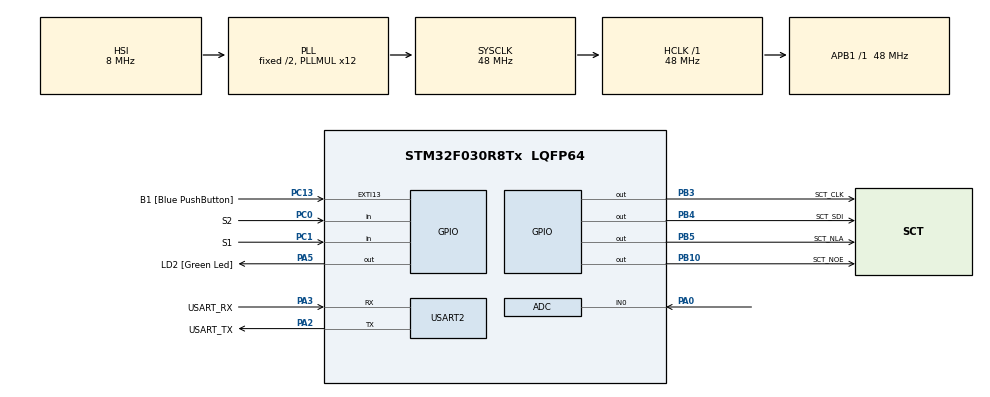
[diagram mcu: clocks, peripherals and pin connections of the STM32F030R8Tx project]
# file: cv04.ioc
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ADC.ContinuousConvMode=ENABLE
ADC.Overrun=ADC_OVR_DATA_OVERWRITTEN
ADC.SamplingTime=ADC_SAMPLETIME_239CYCLES_5
Mcu.Family=STM32F0
Mcu.Name=STM32F030R8Tx
Mcu.Package=LQFP64
NVIC.ADC1_IRQn=true\:0\:0\:false\:false\:true\:true\:true\:true
PA0.Mode=IN0
PA0.Signal=ADC_IN0
PA13.GPIO_Label=TMS
PA13.Mode=Serial_Wire
PA13.Signal=SYS_SWDIO
PA14.GPIO_Label=TCK
PA14.Mode=Serial_Wire
PA14.Signal=SYS_SWCLK
PA2.GPIO_Label=USART_TX
PA2.GPIO_Mode=GPIO_MODE_AF_PP
PA2.GPIO_PuPd=GPIO_NOPULL
PA2.GPIO_Speed=GPIO_SPEED_FREQ_LOW
PA2.Mode=Asynchronous
PA2.Signal=USART2_TX
PA3.GPIO_Label=USART_RX
PA3.GPIO_Mode=GPIO_MODE_AF_PP
PA3.GPIO_PuPd=GPIO_NOPULL
PA3.GPIO_Speed=GPIO_SPEED_FREQ_LOW
PA3.Mode=Asynchronous
PA3.Signal=USART2_RX
PA5.GPIO_Label=LD2 [Green Led]
PA5.GPIO_Mode=GPIO_MODE_OUTPUT_PP
PA5.GPIO_PuPd=GPIO_NOPULL
PA5.GPIO_Speed=GPIO_SPEED_FREQ_LOW
PA5.Signal=GPIO_Output
PB10.GPIO_Label=SCT_NOE
PB10.Signal=GPIO_Output
PB3.GPIO_Label=SCT_CLK
PB3.Signal=GPIO_Output
PB4.GPIO_Label=SCT_SDI
PB4.Signal=GPIO_Output
PB5.GPIO_Label=SCT_NLA
PB5.Signal=GPIO_Output
PC0.GPIO_Label=S2
PC0.GPIO_PuPd=GPIO_PULLUP
PC0.Signal=GPIO_Input
PC1.GPIO_Label=S1
PC1.GPIO_PuPd=GPIO_PULLUP
PC1.Signal=GPIO_Input
PC13.GPIO_Label=B1 [Blue PushButton]
PC13.GPIO_ModeDefaultEXTI=GPIO_MODE_IT_FALLING
PC13.Signal=GPXTI13
PC14-OSC32_IN.Mode=LSE-External-Oscillator
PC14-OSC32_IN.Signal=RCC_OSC32_IN
PC15-OSC32_OUT.Mode=LSE-External-Oscillator
PC15-OSC32_OUT.Signal=RCC_OSC32_OUT
PF0-OSC_IN.Mode=HSE-External-Clock-Source
PF0-OSC_IN.Signal=RCC_OSC_IN
PF1-OSC_OUT.Signal=RCC_OSC_OUT
ProjectManager.HeapSize=0x200
ProjectManager.StackSize=0x400
ProjectManager.TargetToolchain=STM32CubeIDE
RCC.AHBFreq_Value=48000000
RCC.APB1Freq_Value=48000000
RCC.APB1TimFreq_Value=48000000
RCC.HCLKFreq_Value=48000000
RCC.PLLMUL=RCC_PLL_MUL12
RCC.SYSCLKFreq_VALUE=48000000
RCC.SYSCLKSource=RCC_SYSCLKSOURCE_PLLCLK
USART2.VirtualMode-Asynchronous=VM_ASYNC
VP_ADC_TempSens_Input.Mode=IN-TempSens
VP_ADC_Vref_Input.Mode=IN-Vrefint
board=NUCLEO-F030R8

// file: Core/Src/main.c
/* USER CODE BEGIN Header */
/**
  ******************************************************************************
  * @file           : main.c
  * @brief          : Main program body
  ******************************************************************************
  * @attention
  *
  * Copyright (c) 2025 STMicroelectronics.
  * All rights reserved.
  *
  * This software is licensed under terms that can be found in the LICENSE file
  * in the root directory of this software component.
  * If no LICENSE file comes with this software, it is provided AS-IS.
  *
  ******************************************************************************
  */
/* USER CODE END Header */
#include "main.h"

/* USER CODE BEGIN Includes */
#include "sct.h"
/* USER CODE END Includes */

/* USER CODE BEGIN PD */
#define ADC_Q 12

/* Temperature sensor calibration value address */
#define TEMP110_CAL_ADDR ((uint16_t*) ((uint32_t) 0x1FFFF7C2))
#define TEMP30_CAL_ADDR ((uint16_t*) ((uint32_t) 0x1FFFF7B8))

/* Internal voltage reference calibration value address */
#define VREFINT_CAL_ADDR ((uint16_t*) ((uint32_t) 0x1FFFF7BA))

/* USER CODE END PD */

ADC_HandleTypeDef hadc;

UART_HandleTypeDef huart2;

void SystemClock_Config(void);
static void MX_GPIO_Init(void);
static void MX_USART2_UART_Init(void);
static void MX_ADC_Init(void);

/* USER CODE BEGIN 0 */

static volatile uint32_t raw_pot;
static volatile uint16_t raw_temp;
static volatile uint16_t raw_volt;

void HAL_ADC_ConvCpltCallback(ADC_HandleTypeDef* hadc)
{

	static uint32_t avg_pot;
	static uint8_t channel = 0;

	switch(channel) {

	case 0:
		raw_pot = avg_pot >> ADC_Q;
		avg_pot -= raw_pot;
		avg_pot += HAL_ADC_GetValue(hadc);
		break;

	case 1:
		raw_temp = HAL_ADC_GetValue(hadc);
		break;

	case 2:
		raw_volt = HAL_ADC_GetValue(hadc);
		break;

	default:
		channel = 0;
		return;

	}

	if (__HAL_ADC_GET_FLAG(hadc, ADC_FLAG_EOS))
		channel = 0;
	else
		channel++;

}

/* USER CODE END 0 */

int main(void)
{

  /* MCU Configuration--------------------------------------------------------*/

  /* Reset of all peripherals, Initializes the Flash interface and the Systick. */
  HAL_Init();

  /* Configure the system clock */
  SystemClock_Config();

  /* Initialize all configured peripherals */
  MX_GPIO_Init();
  MX_USART2_UART_Init();
  MX_ADC_Init();
  /* USER CODE BEGIN 2 */
  sct_init();

  HAL_ADCEx_Calibration_Start(&hadc);
  HAL_ADC_Start_IT(&hadc);

  /* USER CODE END 2 */

  /* Infinite loop */
  /* USER CODE BEGIN WHILE */

  while (1)
  {
	  static enum { SHOW_POT, SHOW_VOLT, SHOW_TEMP } state = SHOW_POT;
	  static uint32_t press = 0;

	  uint16_t value;
	  uint8_t led = (raw_pot * 9) / 4096;
	  int32_t temperature;

	  if ((HAL_GPIO_ReadPin(S1_GPIO_Port, S1_Pin) == GPIO_PIN_RESET)){
		  state = SHOW_VOLT;
		  press = HAL_GetTick();

	  }

	  else if (HAL_GPIO_ReadPin(S2_GPIO_Port, S2_Pin) == GPIO_PIN_RESET){
		  state = SHOW_TEMP;
		  press = HAL_GetTick();

	  }

	  if ((state != SHOW_POT) && (HAL_GetTick() - press > 1000)) {
		  state = SHOW_POT;
	  }

	  switch (state)
	  {
	  case SHOW_VOLT:
		  value = 330 * (*VREFINT_CAL_ADDR) / raw_volt;

		  break;

	  case SHOW_TEMP:
		  temperature = (raw_temp - (int32_t)(*TEMP30_CAL_ADDR));
		  temperature = temperature * (int32_t)(110 - 30);
		  temperature = temperature / (int32_t)(*TEMP110_CAL_ADDR - *TEMP30_CAL_ADDR);
		  temperature = temperature + 30;
		  value = temperature;
		  break;

	  case SHOW_POT:
		  value = (raw_pot * 501) / 4096;
		  break;
	  }

	  sct_value(value, led);
	  HAL_Delay(50);

    /* USER CODE END WHILE */

  }
}

void SystemClock_Config(void)
{
  RCC_OscInitTypeDef RCC_OscInitStruct = {0};
  RCC_ClkInitTypeDef RCC_ClkInitStruct = {0};

  /** Initializes the RCC Oscillators according to the specified parameters
  * in the RCC_OscInitTypeDef structure.
  */
  RCC_OscInitStruct.OscillatorType = RCC_OSCILLATORTYPE_HSI|RCC_OSCILLATORTYPE_HSI14;
  RCC_OscInitStruct.HSIState = RCC_HSI_ON;
  RCC_OscInitStruct.HSI14State = RCC_HSI14_ON;
  RCC_OscInitStruct.HSICalibrationValue = RCC_HSICALIBRATION_DEFAULT;
  RCC_OscInitStruct.HSI14CalibrationValue = 16;
  RCC_OscInitStruct.PLL.PLLState = RCC_PLL_ON;
  RCC_OscInitStruct.PLL.PLLSource = RCC_PLLSOURCE_HSI;
  RCC_OscInitStruct.PLL.PLLMUL = RCC_PLL_MUL12;
  RCC_OscInitStruct.PLL.PREDIV = RCC_PREDIV_DIV1;
  if (HAL_RCC_OscConfig(&RCC_OscInitStruct) != HAL_OK)
  {
    Error_Handler();
  }

  /** Initializes the CPU, AHB and APB buses clocks
  */
  RCC_ClkInitStruct.ClockType = RCC_CLOCKTYPE_HCLK|RCC_CLOCKTYPE_SYSCLK
                              |RCC_CLOCKTYPE_PCLK1;
  RCC_ClkInitStruct.SYSCLKSource = RCC_SYSCLKSOURCE_PLLCLK;
  RCC_ClkInitStruct.AHBCLKDivider = RCC_SYSCLK_DIV1;
  RCC_ClkInitStruct.APB1CLKDivider = RCC_HCLK_DIV1;

  if (HAL_RCC_ClockConfig(&RCC_ClkInitStruct, FLASH_LATENCY_1) != HAL_OK)
  {
    Error_Handler();
  }
}

static void MX_ADC_Init(void)
{

  ADC_ChannelConfTypeDef sConfig = {0};

  /** Configure the global features of the ADC (Clock, Resolution, Data Alignment and number of conversion)
  */
  hadc.Instance = ADC1;
  hadc.Init.ClockPrescaler = ADC_CLOCK_ASYNC_DIV1;
  hadc.Init.Resolution = ADC_RESOLUTION_12B;
  hadc.Init.DataAlign = ADC_DATAALIGN_RIGHT;
  hadc.Init.ScanConvMode = ADC_SCAN_DIRECTION_FORWARD;
  hadc.Init.EOCSelection = ADC_EOC_SINGLE_CONV;
  hadc.Init.LowPowerAutoWait = DISABLE;
  hadc.Init.LowPowerAutoPowerOff = DISABLE;
  hadc.Init.ContinuousConvMode = ENABLE;
  hadc.Init.DiscontinuousConvMode = DISABLE;
  hadc.Init.ExternalTrigConv = ADC_SOFTWARE_START;
  hadc.Init.ExternalTrigConvEdge = ADC_EXTERNALTRIGCONVEDGE_NONE;
  hadc.Init.DMAContinuousRequests = DISABLE;
  hadc.Init.Overrun = ADC_OVR_DATA_OVERWRITTEN;
  if (HAL_ADC_Init(&hadc) != HAL_OK)
  {
    Error_Handler();
  }

  /** Configure for the selected ADC regular channel to be converted.
  */
  sConfig.Channel = ADC_CHANNEL_0;
  sConfig.Rank = ADC_RANK_CHANNEL_NUMBER;
  sConfig.SamplingTime = ADC_SAMPLETIME_239CYCLES_5;
  if (HAL_ADC_ConfigChannel(&hadc, &sConfig) != HAL_OK)
  {
    Error_Handler();
  }

  /** Configure for the selected ADC regular channel to be converted.
  */
  sConfig.Channel = ADC_CHANNEL_TEMPSENSOR;
  if (HAL_ADC_ConfigChannel(&hadc, &sConfig) != HAL_OK)
  {
    Error_Handler();
  }

  /** Configure for the selected ADC regular channel to be converted.
  */
  sConfig.Channel = ADC_CHANNEL_VREFINT;
  if (HAL_ADC_ConfigChannel(&hadc, &sConfig) != HAL_OK)
  {
    Error_Handler();
  }

}

static void MX_USART2_UART_Init(void)
{

  huart2.Instance = USART2;
  huart2.Init.BaudRate = 38400;
  huart2.Init.WordLength = UART_WORDLENGTH_8B;
  huart2.Init.StopBits = UART_STOPBITS_1;
  huart2.Init.Parity = UART_PARITY_NONE;
  huart2.Init.Mode = UART_MODE_TX_RX;
  huart2.Init.HwFlowCtl = UART_HWCONTROL_NONE;
  huart2.Init.OverSampling = UART_OVERSAMPLING_16;
  huart2.Init.OneBitSampling = UART_ONE_BIT_SAMPLE_DISABLE;
  huart2.AdvancedInit.AdvFeatureInit = UART_ADVFEATURE_NO_INIT;
  if (HAL_UART_Init(&huart2) != HAL_OK)
  {
    Error_Handler();
  }

}

static void MX_GPIO_Init(void)
{
  GPIO_InitTypeDef GPIO_InitStruct = {0};

  /* GPIO Ports Clock Enable */
  __HAL_RCC_GPIOC_CLK_ENABLE();
  __HAL_RCC_GPIOF_CLK_ENABLE();
  __HAL_RCC_GPIOA_CLK_ENABLE();
  __HAL_RCC_GPIOB_CLK_ENABLE();

  /*Configure GPIO pin Output Level */
  HAL_GPIO_WritePin(LD2_GPIO_Port, LD2_Pin, GPIO_PIN_RESET);

  /*Configure GPIO pin Output Level */
  HAL_GPIO_WritePin(GPIOB, SCT_NOE_Pin|SCT_CLK_Pin|SCT_SDI_Pin|SCT_NLA_Pin, GPIO_PIN_RESET);

  /*Configure GPIO pin : B1_Pin */
  GPIO_InitStruct.Pin = B1_Pin;
  GPIO_InitStruct.Mode = GPIO_MODE_IT_FALLING;
  GPIO_InitStruct.Pull = GPIO_NOPULL;
  HAL_GPIO_Init(B1_GPIO_Port, &GPIO_InitStruct);

  /*Configure GPIO pins : S2_Pin S1_Pin */
  GPIO_InitStruct.Pin = S2_Pin|S1_Pin;
  GPIO_InitStruct.Mode = GPIO_MODE_INPUT;
  GPIO_InitStruct.Pull = GPIO_PULLUP;
  HAL_GPIO_Init(GPIOC, &GPIO_InitStruct);

  /*Configure GPIO pin : LD2_Pin */
  GPIO_InitStruct.Pin = LD2_Pin;
  GPIO_InitStruct.Mode = GPIO_MODE_OUTPUT_PP;
  GPIO_InitStruct.Pull = GPIO_NOPULL;
  GPIO_InitStruct.Speed = GPIO_SPEED_FREQ_LOW;
  HAL_GPIO_Init(LD2_GPIO_Port, &GPIO_InitStruct);

  /*Configure GPIO pins : SCT_NOE_Pin SCT_CLK_Pin SCT_SDI_Pin SCT_NLA_Pin */
  GPIO_InitStruct.Pin = SCT_NOE_Pin|SCT_CLK_Pin|SCT_SDI_Pin|SCT_NLA_Pin;
  GPIO_InitStruct.Mode = GPIO_MODE_OUTPUT_PP;
  GPIO_InitStruct.Pull = GPIO_NOPULL;
  GPIO_InitStruct.Speed = GPIO_SPEED_FREQ_LOW;
  HAL_GPIO_Init(GPIOB, &GPIO_InitStruct);

}

void Error_Handler(void)
{
  __disable_irq();
  while (1)
  {
  }
}
